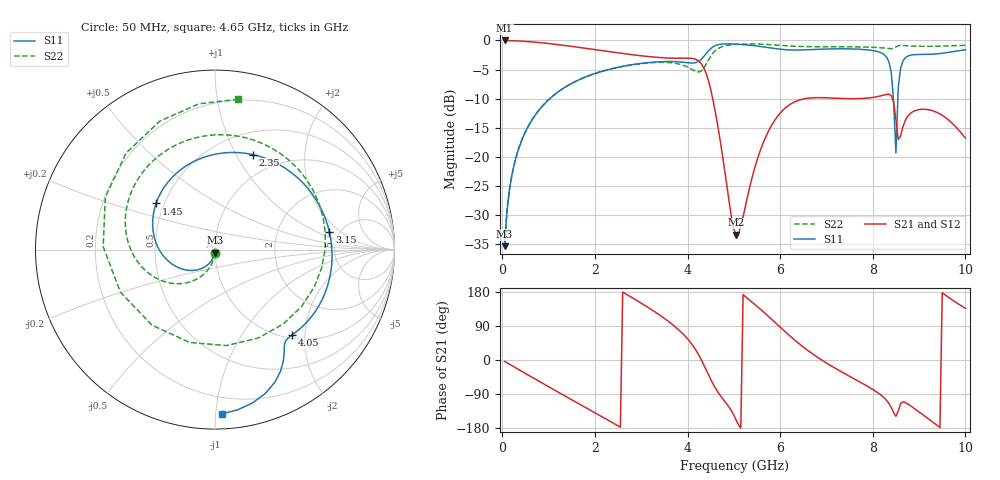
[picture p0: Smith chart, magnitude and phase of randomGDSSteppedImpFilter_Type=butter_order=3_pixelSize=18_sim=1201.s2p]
! freq	dB(S11)	phase(S11)	dB(S12)	phase(S12)
!  dB(S21)	phase(S21)	dB(S22)	phase(S22)
!S-par simulation data
#  GHz  S  DB  R 50
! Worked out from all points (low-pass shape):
!   200 points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, 50 MHz to 10 GHz, reference 50 ohm
!   highest |S21| = -0.01 dB at 50 MHz (marker M1); lowest = -33.3 dB at 5.05 GHz (marker M2)
!   |S21| within 3 dB of the highest: start of sweep to 3.539 GHz
!   lowest |S11| = -35.3 dB at 50 MHz (marker M3), VSWR 1.03, Z = 49.9 - j1.71 ohm
!   |S11| at or under -10 dB: start of sweep to 1.027 GHz; 8.445 GHz to 8.542 GHz (96.05 MHz wide, 1.13 % of centre)
!   |S22| runs from -35.3 to -0.6 dB; largest |S21 - S12| = 0
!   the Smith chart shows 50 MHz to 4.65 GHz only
!   S11 on the Smith chart (normalised r, x): 50 MHz: 1.00, -0.03; 1.45 GHz: 0.45, +0.28; 2.35 GHz: 0.75, +1.17; 3.15 GHz: 4.12, +1.41; 4.05 GHz: 1.06, -1.72; 4.65 GHz: 0.09, -1.04
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0.05  -35.32 -94.0  -0.01 -3.6  -0.01 -3.6  -35.31 -92.1
0.4  -17.56 -126.3  -0.12 -28.5  -0.12 -28.5  -17.53 -111.6
1.45  -7.60 142.0  -0.97 -101.6  -0.97 -101.6  -7.58 -166.5
1.75  -6.44 116.8  -1.30 -122.1  -1.30 -122.1  -6.42 177.7
2.35  -4.89 68.4  -1.97 -163.4  -1.97 -163.4  -4.89 143.8
3.15  -3.81 8.9  -2.77 138.6  -2.77 138.6  -3.87 87.9
3.4  -3.66 -8.4  -2.94 118.4  -2.94 118.4  -3.77 65.3
4.05  -3.87 -48.0  -3.06 48.7  -3.06 48.7  -4.77 -33.1
4.25  -3.54 -54.5  -3.60 11.6  -3.60 11.6  -5.41 -105.3
4.4  -2.29 -61.6  -5.62 -25.4  -5.62 -25.4  -4.11 178.5
4.65  -0.76 -87.6  -14.52 -83.5  -14.52 -83.5  -1.45 81.5
5.05  -0.65 -131.1  -33.35 -158.5  -33.35 -158.5  -0.68 4.7
5.5  -0.97 173.5  -20.58 141.8  -20.58 141.8  -0.62 -47.4
5.95  -1.46 103.8  -12.96 92.3  -12.96 92.3  -0.82 -86.3
6.7  -1.57 -8.3  -9.85 16.2  -9.85 16.2  -1.08 -134.3
7.55  -1.46 -91.6  -10.01 -46.5  -10.01 -46.5  -1.10 -178.4
8.35  -3.73 176.1  -9.24 -114.8  -9.24 -114.8  -1.40 145.1
8.5  -19.32 -132.6  -13.57 -148.6  -13.57 -148.6  -1.13 141.0
8.6  -4.81 -136.5  -16.46 -115.0  -16.46 -115.0  -0.86 134.8
8.9  -2.45 163.4  -12.10 -128.2  -12.10 -128.2  -0.99 119.7
9.4  -2.30 85.9  -12.42 -173.4  -12.42 -173.4  -1.00 97.4
10  -1.61 2.2  -16.76 136.5  -16.76 136.5  -0.85 69.9
